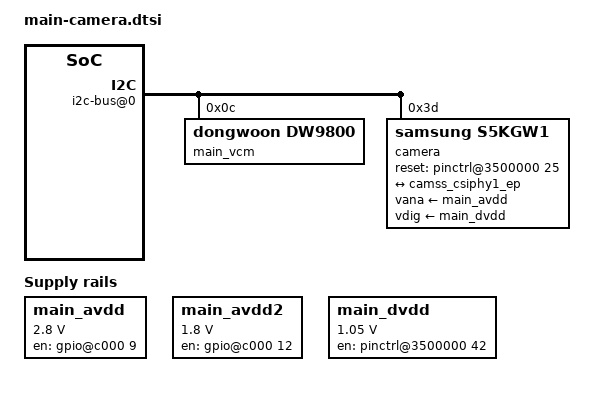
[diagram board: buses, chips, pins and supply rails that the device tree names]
// The Redmi Note 9 Pro (joyeuse)'s main camera, the S5KGW1: its power, pins, lens and CSI
// link to CAMSS (csiphy1, 3 lanes). Not applied by build-boot.sh yet: CAMSS then waits for
// the sensor, and it gives no frames (kernel/s5kgw1/README.md). The boot tree has no labels,
// so it goes on the decompiled tree, and references are by path:
//   dtc -I dtb -O dts miatoll.dtb > t.dts; cat t.dts main-camera.dtsi | dtc -I dts -O dtb > out.dtb

/ {
	main_avdd: regulator-main-avdd-2p8 {
		compatible = "regulator-fixed";
		regulator-name = "main_avdd_2p8";
		regulator-min-microvolt = <2800000>;
		regulator-max-microvolt = <2800000>;
		regulator-enable-ramp-delay = <100>;
		enable-active-high;
		gpio = <&{/soc@0/spmi@c440000/pmic@4/gpio@c000} 9 0>;
		vin-supply = <&{/soc@0/rsc@18200000/regulators-1/bob}>;
	};

	main_avdd2: regulator-main-avdd2-1p8 {
		compatible = "regulator-fixed";
		regulator-name = "main_avdd2_1p8";
		regulator-min-microvolt = <1800000>;
		regulator-max-microvolt = <1800000>;
		regulator-enable-ramp-delay = <100>;
		enable-active-high;
		gpio = <&{/soc@0/spmi@c440000/pmic@4/gpio@c000} 12 0>;
		vin-supply = <&{/soc@0/rsc@18200000/regulators-0/ldo13}>;
	};

	/* 1.2 V on a 48 MP board, 1.05 V on a 64 MP one: one enable, the LDO fitted decides */
	main_dvdd: regulator-main-dvdd {
		compatible = "regulator-fixed";
		regulator-name = "main_dvdd";
		regulator-min-microvolt = <1050000>;
		regulator-max-microvolt = <1050000>;
		regulator-enable-ramp-delay = <100>;
		enable-active-high;
		gpio = <&{/soc@0/pinctrl@3500000} 42 0>;
	};
};

&{/soc@0/pinctrl@3500000} {
	main_cam_default: cam-main-default-state {
		rst-pins {
			pins = "gpio25";
			function = "gpio";
			drive-strength = <2>;
			bias-disable;
		};

		mclk1-pins {
			pins = "gpio14";
			function = "cam_mclk";
			drive-strength = <2>;
			bias-disable;
		};
	};
};

&{/soc@0/cci@ac4a000/i2c-bus@0} {
	status = "okay";

	main_vcm: camera-lens@c {
		compatible = "dongwoon,dw9800";
		reg = <0x0c>;
		vin-supply = <&{/soc@0/rsc@18200000/regulators-0/ldo13}>;
		vdd-supply = <&{/regulator-wide-afvdd-2p8}>;
	};

	camera@3d {
		compatible = "samsung,s5kgw1";
		reg = <0x3d>;
		vana-supply = <&main_avdd>;
		vdig-supply = <&main_dvdd>;
		vio-supply = <&{/soc@0/rsc@18200000/regulators-0/ldo13}>;
		clocks = <&{/soc@0/clock-controller@ad00000} 63>;	/* CAM_CC_MCLK1_CLK */
		assigned-clocks = <&{/soc@0/clock-controller@ad00000} 63>;
		assigned-clock-rates = <19200000>;
		reset-gpios = <&{/soc@0/pinctrl@3500000} 25 0>;
		pinctrl-names = "default";
		pinctrl-0 = <&main_cam_default>;
		orientation = <1>;
		rotation = <270>;
		lens-focus = <&main_vcm>;

		port {
			main_cam_ep: endpoint {
				data-lanes = <1 2 3>;
				link-frequencies = /bits/ 64 <1097600000>;
				remote-endpoint = <&camss_csiphy1_ep>;
			};
		};
	};
};

&{/soc@0/camss@acb3000/ports/port@1} {
	camss_csiphy1_ep: endpoint {
		data-lanes = <0 1 2>;
		remote-endpoint = <&main_cam_ep>;
	};
};
